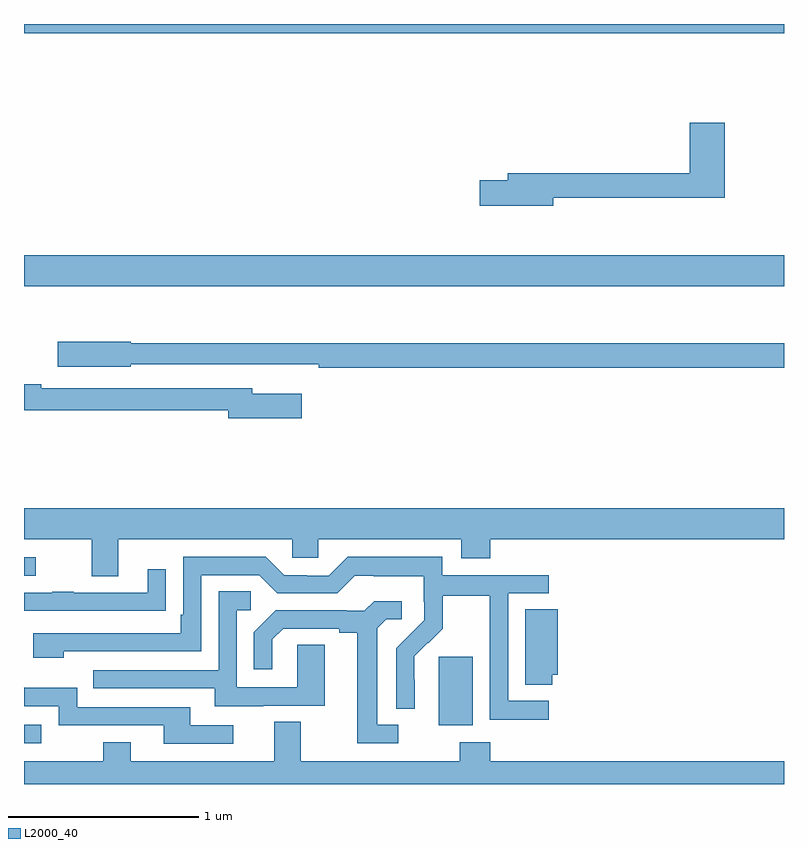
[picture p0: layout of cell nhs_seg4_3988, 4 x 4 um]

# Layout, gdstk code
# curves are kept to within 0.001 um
import gdstk
lib = gdstk.Library(unit=1e-6, precision=1e-09)
def R(c, l, rs):  # rectangles x0, y0, x1, y1
    for r in rs: c.add(gdstk.rectangle(r[:2], r[2:], *l))
def P(c, l, *ps):  # polygons
    for p in ps: c.add(gdstk.Polygon(p, *l))
L2000_40 = (2000, 40)

nhs_seg4_3988 = lib.new_cell('nhs_seg4_3988')
R(nhs_seg4_3988, L2000_40, [(323,761.115,323.092,761.211), (325.184,761.21,325.363,761.571), (323,761.997,323.062,762.093), (323,763.52,327,763.684), (323,764.852,327,764.9)])
P(nhs_seg4_3988, L2000_40, [(325.786,763.986),(326.687,763.986),(326.687,764.38),(326.504,764.38),(326.504,764.114),(325.547,764.114),(325.547,764.078),(325.398,764.078),(325.398,763.943),(325.786,763.943)],
  [(327,763.219),(323.562,763.219),(323.562,763.227),(323.178,763.227),(323.178,763.097),(323.562,763.097),(323.562,763.11),(324.298,763.11),(324.298,763.109),(324.55,763.109),(324.55,763.09),(327,763.09)],
  [(324.463,762.955),(324.202,762.955),(324.202,762.984),(323.09,762.984),(323.09,763.004),(323,763.004),(323,762.868),(324.074,762.868),(324.074,762.826),(324.463,762.826)],
  [(323.497,762.188),(324.411,762.188),(324.411,762.09),(324.549,762.09),(324.549,762.188),(325.301,762.188),(325.301,762.089),(325.454,762.089),(325.454,762.188),(327,762.188),(327,762.352),(323,762.352),(323,762.188),(323.357,762.188),(323.357,761.994),(323.497,761.994)],
  [(325.762,761.337),(325.548,761.337),(325.548,761.904),(325.762,761.904),(325.762,762),(325.2,762),(325.2,762.097),(324.703,762.097),(324.603,761.997),(324.488,761.997),(324.488,762),(324.369,762),(324.273,762.096),(323.838,762.096),(323.838,761.791),(323.825,761.791),(323.825,761.694),(323.049,761.694),(323.049,761.564),(323.21,761.564),(323.21,761.598),(323.934,761.598),(323.934,762),(324.237,762),(324.333,761.904),(324.648,761.904),(324.741,761.997),(324.841,761.997),(324.841,761.993),(325.104,761.993),(325.104,761.859),(325.106,761.859),(325.106,761.762),(324.96,761.614),(324.96,761.296),(325.056,761.296),(325.055,761.573),(325.125,761.643),(325.128,761.64),(325.205,761.717),(325.205,761.892),(325.45,761.892),(325.45,761.668),(325.452,761.668),(325.452,761.239),(325.762,761.239)],
  [(323.645,761.812),(323.747,761.812),(323.747,762.031),(323.651,762.031),(323.651,761.907),(323.261,761.907),(323.261,761.912),(323.149,761.912),(323.149,761.907),(323,761.907),(323,761.811),(323.645,761.811)],
  [(324.259,761.313),(324.583,761.313),(324.583,761.633),(324.438,761.633),(324.438,761.409),(324.12,761.409),(324.12,761.814),(324.193,761.814),(324.193,761.915),(324.024,761.915),(324.024,761.499),(323.365,761.499),(323.365,761.403),(324.005,761.403),(324.005,761.309),(324.259,761.309)],
  [(324.97,761.211),(324.859,761.211),(324.859,761.719),(324.906,761.766),(324.988,761.766),(324.988,761.863),(324.844,761.863),(324.792,761.811),(324.698,761.811),(324.698,761.814),(324.326,761.814),(324.21,761.698),(324.21,761.505),(324.307,761.505),(324.307,761.661),(324.364,761.718),(324.659,761.718),(324.659,761.696),(324.755,761.696),(324.755,761.115),(324.97,761.115)],
  [(325.781,761.475),(325.808,761.475),(325.808,761.819),(325.637,761.819),(325.637,761.422),(325.781,761.422)],
  [(324.1,761.208),(323.875,761.208),(323.875,761.304),(323.28,761.304),(323.28,761.407),(323.003,761.407),(323,761.41),(323,761.31),(323.184,761.31),(323.184,761.208),(323.735,761.208),(323.735,761.112),(324.1,761.112)],
  [(327,761.02),(325.454,761.02),(325.454,761.119),(325.294,761.119),(325.294,761.02),(324.457,761.02),(324.457,761.228),(324.317,761.228),(324.317,761.02),(323.563,761.02),(323.563,761.119),(323.416,761.119),(323.416,761.02),(323,761.02),(323,760.9),(327,760.9)])

lib.write_gds('nhs_seg4_3988.gds')
